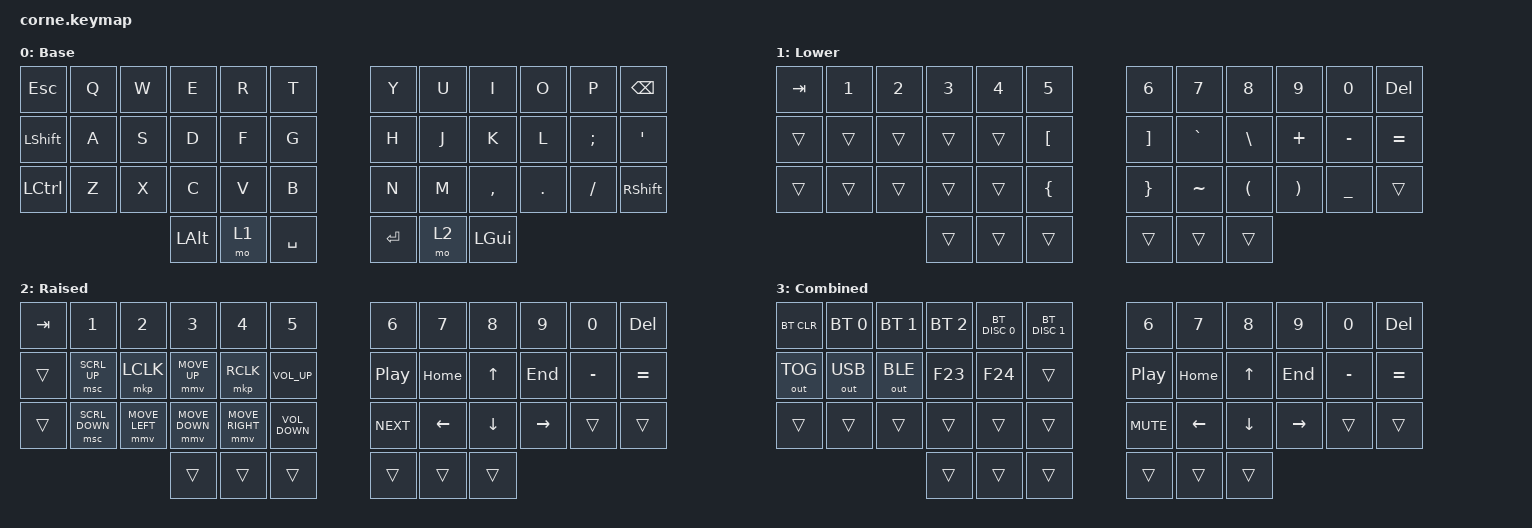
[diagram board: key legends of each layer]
/*
 * Copyright (c) 2020 The ZMK Contributors
 *
 * SPDX-License-Identifier: MIT
 */

#include <behaviors.dtsi>
#include <dt-bindings/zmk/bt.h>
#include <dt-bindings/zmk/keys.h>
#include <dt-bindings/zmk/pointing.h>
#include <dt-bindings/zmk/outputs.h>

/ {
    combos {
        compatible = "zmk,combos";

        tab {
            bindings = <&kp TAB>;
            key-positions = <1 2>;
        };
    };

    keymap {
        compatible = "zmk,keymap";

        default_layer {
            // -----------------------------------------------------------------------------------------
            // |  ESC |  Q  |  W  |  E  |  R  |  T  |   |  Y  |  U   |  I  |  O  |  P  | BSPC |
            // | LSHFT|  A  |  S  |  D  |  F  |  G  |   |  H  |  J   |  K  |  L  |  ;  |  '   |
            // | LCTRL|  Z  |  X  |  C  |  V  |  B  |   |  N  |  M   |  ,  |  .  |  /  | RSHFT|
            //                    | LALT| LWR | SPC |   | ENT | RSE  | LGUI|

            display-name= "Base";

            bindings = <
&kp ESC    &kp Q  &kp W  &kp E     &kp R  &kp T        &kp Y    &kp U  &kp I      &kp O    &kp P     &kp BSPC
&kp LSHFT  &kp A  &kp S  &kp D     &kp F  &kp G        &kp H    &kp J  &kp K      &kp L    &kp SEMI  &kp SQT
&kp LCTRL  &kp Z  &kp X  &kp C     &kp V  &kp B        &kp N    &kp M  &kp COMMA  &kp DOT  &kp FSLH  &kp RSHFT
                         &kp LALT  &mo 1  &kp SPACE    &kp RET  &mo 2  &kp LGUI
            >;
        };

        lower_layer {
            // -----------------------------------------------------------------------------------------
            // |  TAB |  1  |  2  |  3  |  4  |  5  |   |  6  |  7  |  8  |  9  |  0  | DEL  |
            // |      |     |     |     |     |  [  |   |  ]  | `   |  \  |  +  |  -  |  =   |
            // |      |     |     |     |     |  {  |   |  }  | ~   |  (  |  )  |  _  |      |
            //                    |     |     |     |   |     |     |     |

            display-name= "Lower";

            bindings = <
&kp TAB  &kp N1  &kp N2  &kp N3  &kp N4  &kp N5              &kp N6             &kp N7     &kp N8                &kp N9                 &kp N0          &kp DEL
&trans   &trans  &trans  &trans  &trans  &kp LEFT_BRACKET    &kp RIGHT_BRACKET  &kp GRAVE  &kp BACKSLASH         &kp PLUS               &kp MINUS       &kp EQUAL
&trans   &trans  &trans  &trans  &trans  &kp LEFT_BRACE      &kp RIGHT_BRACE    &kp TILDE  &kp LEFT_PARENTHESIS  &kp RIGHT_PARENTHESIS  &kp UNDERSCORE  &trans
                         &trans  &trans  &trans              &trans             &trans     &trans
            >;
        };

        raise_layer {
            // -----------------------------------------------------------------------------------------
            // |  TAB |  1  |  2  |  3  |  4  |  5  |   |  6  |  7  |  8  |  9  |  0  | DEL  |
            // |      |SCRUP|LCLK | M-UP|RCLK |VOL+ |   |PLAY |HOME | UP  | END | -   |  =   |
            // |      |SCRDN|M-LFT|M-DN |M-RGT|VOL- |   |NEXT |LEFT |DOWN |RIGHT|     |      |
            //                    |     |     |     |   |     |     |     |

            display-name= "Raised";

            bindings = <
&kp TAB  &kp N1          &kp N2          &kp N3          &kp N4           &kp N5               &kp N6            &kp N7    &kp N8    &kp N9     &kp N0     &kp DEL
&trans   &msc SCRL_UP    &mkp LCLK       &mmv MOVE_UP    &mkp RCLK        &kp C_VOLUME_UP      &kp C_PLAY_PAUSE  &kp HOME  &kp UP    &kp END    &kp MINUS  &kp EQUAL
&trans   &msc SCRL_DOWN  &mmv MOVE_LEFT  &mmv MOVE_DOWN  &mmv MOVE_RIGHT  &kp C_VOLUME_DOWN    &kp C_NEXT        &kp LEFT  &kp DOWN  &kp RIGHT  &trans     &trans
                                         &trans          &trans           &trans               &trans            &trans    &trans
            >;
        };

        combined_layer {
            // -----------------------------------------------------------------------------------------
            // |BTCLR | BT0  | BT1  | BT2 |BTDC0|BTDC1|   |  6  |  7  |  8  |  9  |  0  | DEL  |
            // |OUTTOG|OUTUSB|OUTBLE| F23 | F24 |     |   |PLAY |HOME | UP  | END | -   |  =   |
            // |      |      |      |     |     |     |   |MUTE |LEFT |DOWN |RIGHT|     |      |
            //                      |     |     |     |   |     |     |     |

            display-name= "Combined"; // or layer 3

            bindings = <
&bt BT_CLR    &bt BT_SEL 0        &bt BT_SEL 1         &bt BT_SEL 2        &bt BT_DISC 0       &bt BT_DISC 1           &kp N6            &kp N7    &kp N8    &kp N9     &kp N0     &kp DEL
&out OUT_TOG  &out OUT_USB  &out OUT_BLE  &kp F23       &kp F24       &trans    &kp C_PLAY_PAUSE  &kp HOME  &kp UP    &kp END    &kp MINUS  &kp EQUAL
&trans      &trans        &trans        &trans        &trans        &trans           &kp C_MUTE        &kp LEFT  &kp DOWN  &kp RIGHT  &trans     &trans
                                        &trans        &trans        &trans           &trans            &trans    &trans
            >;
        };
    };

    conditional_layers {
        compatible = "zmk,conditional-layers";

        Both {
            if-layers = <1 2>;
            then-layer = <3>;
        };
    };
};
